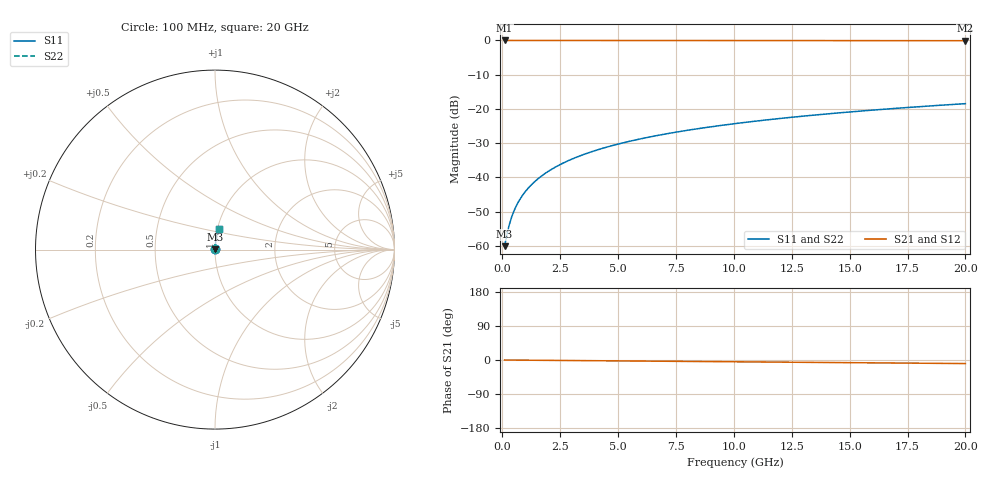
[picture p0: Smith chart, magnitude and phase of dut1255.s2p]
! Touchstone file exported from HFSS 2026.1.0
!  File:  C:/ffzhzh/LocalFiles/Ansys_Project_Files/temp_train_TSV_1255_1783193787_51560.aedt
!  Generated:  03:38:37 AM Jul  5, 2026
!  Design:  TSV
!  Project:  temp_train_TSV_1255_1783193787_51560
! Variables:
!  h_bsmrdl = 2um
!  h_ox = 20um
!  h_rdl = 5um
!  h_sub = 53.99um
!  h_tmrdl = 5um
!  h_tsv = 53.99um
!  h_via = 3um
!  l_bsmrdl = 300um
!  l_sub = 405.82um
!  l_tmrdl = 200um
!  m_sub = 200um
!  pitch = 56.74um
!  r_tsv = 2.91um
!  s_tmrdl = 10um
!  w_bsmrdl = 18um
!  w_sub = 500um
!  w_tmrdl = 12um
!  x_tsv_center1 = 206um
!  x_tsv_center2 = 524um
!  x_tsv_center3 = 736um
!  x_tsv_center4 = 1054um
!  x_tsv_center5 = 1266um
!  x_tsv_center6 = 1584um
# GHz S MA R 50.000000
! Terminal data exported
! Port[1] = TSV1_1_T1
! Port[2] = TSV1_1_T2
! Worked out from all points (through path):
!   200 points, 100 MHz to 20 GHz, reference 50 ohm
!   highest |S21| = -0.01 dB at 100 MHz (marker M1); lowest = -0.1 dB at 20 GHz (marker M2)
!   group delay of S21, straight-line fit = 1.3 ps
!   lowest |S11| = -60.1 dB at 100 MHz (marker M3), VSWR 1.00, Z = 50.1 + j0.0624 ohm
!   |S11| at or under -10 dB: start of sweep to end of sweep
!   |S22| runs from -60.1 to -18.5 dB; largest |S21 - S12| = 4.7e-15
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0.1  0.0009859 39.2  0.9992 -0.0  0.9992 -0.0  0.0009859 39.2
! Gamma 0 0 0 0
! Port Impedance 50 0 50 0
0.2  0.001464 58.2  0.9992 -0.1  0.9992 -0.1  0.001464 58.2
0.3  0.002019 67.3  0.9992 -0.1  0.9992 -0.1  0.002019 67.3
0.4  0.002601 72.3  0.9992 -0.2  0.9992 -0.2  0.002601 72.3
0.5  0.003194 75.5  0.9992 -0.2  0.9992 -0.2  0.003194 75.5
0.6  0.003793 77.6  0.9992 -0.3  0.9992 -0.3  0.003793 77.6
0.8  0.005 80.4  0.9992 -0.4  0.9992 -0.4  0.005 80.4
1.1  0.006823 82.6  0.9992 -0.5  0.9992 -0.5  0.006823 82.6
1.5  0.009263 84.1  0.9991 -0.7  0.9991 -0.7  0.009263 84.1
1.8  0.0111 84.8  0.9991 -0.9  0.9991 -0.9  0.0111 84.8
2.1  0.01293 85.2  0.9991 -1.0  0.9991 -1.0  0.01293 85.2
2.7  0.0166 85.6  0.999 -1.3  0.999 -1.3  0.0166 85.6
3.5  0.02148 85.8  0.9988 -1.7  0.9988 -1.7  0.02148 85.8
4.2  0.02574 85.7  0.9986 -2.0  0.9986 -2.0  0.02574 85.7
5  0.0306 85.6  0.9984 -2.4  0.9984 -2.4  0.0306 85.6
5.9  0.03604 85.3  0.9982 -2.8  0.9982 -2.8  0.03604 85.3
6.8  0.04147 85.0  0.9979 -3.2  0.9979 -3.2  0.04147 85.0
8.3  0.05047 84.4  0.9973 -3.9  0.9973 -3.9  0.05047 84.4
10.1  0.06121 83.7  0.9965 -4.8  0.9965 -4.8  0.06121 83.7
13.4  0.08073 82.3  0.9948 -6.3  0.9948 -6.3  0.08073 82.3
16.7  0.1001 80.9  0.9928 -7.9  0.9928 -7.9  0.1001 80.9
20  0.1192 79.5  0.9905 -9.4  0.9905 -9.4  0.1192 79.5
